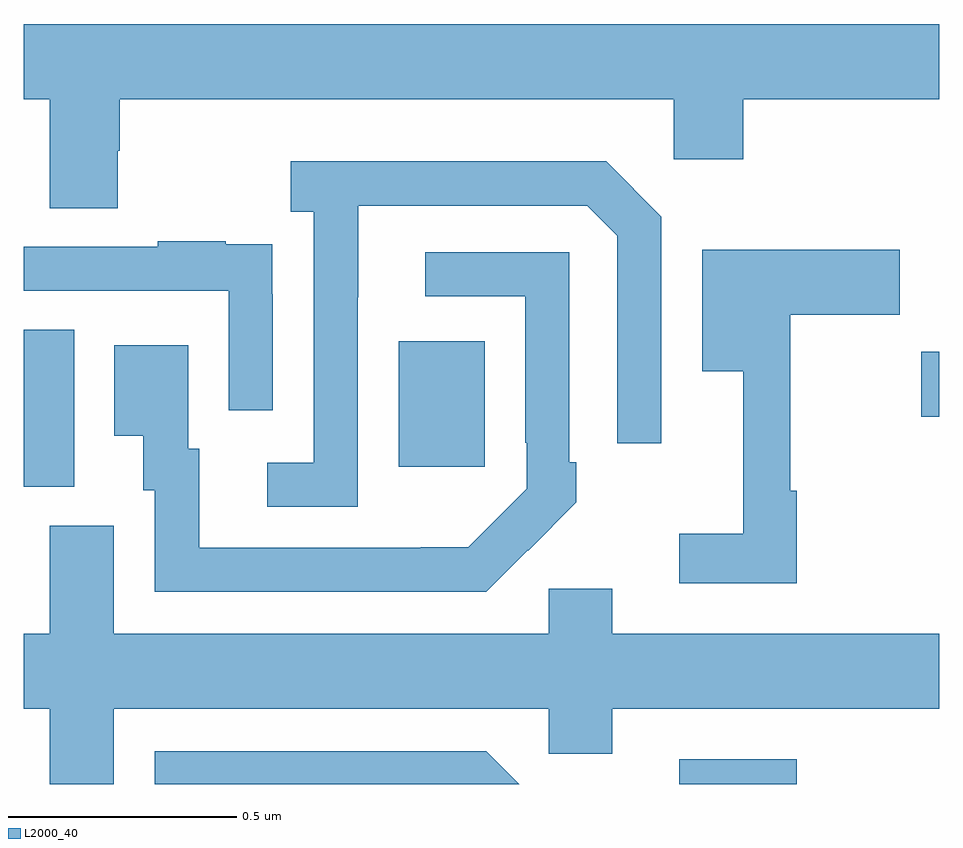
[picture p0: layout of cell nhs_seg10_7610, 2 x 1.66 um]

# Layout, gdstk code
import gdstk
lib = gdstk.Library(unit=1e-6, precision=1e-09)
def R(c, l, rs):  # rectangles x0, y0, x1, y1
    for r in rs: c.add(gdstk.rectangle(r[:2], r[2:], *l))
def P(c, l, *ps):  # polygons
    for p in ps: c.add(gdstk.Polygon(p, *l))
L2000_40 = (2000, 40)

nhs_seg10_7610 = lib.new_cell('nhs_seg10_7610')
R(nhs_seg10_7610, L2000_40, [(207.432,1285.5,207.689,1285.554), (206,1286.149,206.11,1286.492), (206.819,1286.193,207.007,1286.467), (207.96,1286.302,208,1286.444)])
P(nhs_seg10_7610, L2000_40, [(206.205,1286.883),(206.21,1286.883),(206.21,1286.996),(207.42,1286.996),(207.42,1286.865),(207.572,1286.865),(207.572,1286.996),(208,1286.996),(208,1287.16),(206,1287.16),(206,1286.996),(206.057,1286.996),(206.057,1286.758),(206.205,1286.758)],
  [(206.73,1286.563),(206.731,1286.563),(206.731,1286.763),(207.231,1286.763),(207.297,1286.697),(207.297,1286.244),(207.393,1286.244),(207.393,1286.739),(207.272,1286.86),(206.583,1286.86),(206.583,1286.75),(206.634,1286.75),(206.634,1286.202),(206.532,1286.202),(206.532,1286.106),(206.73,1286.106)],
  [(206.544,1286.57),(206.543,1286.57),(206.543,1286.679),(206.441,1286.679),(206.441,1286.686),(206.293,1286.686),(206.293,1286.673),(206,1286.673),(206,1286.577),(206.448,1286.577),(206.448,1286.316),(206.544,1286.316)],
  [(207.689,1286.141),(207.674,1286.141),(207.674,1286.525),(207.913,1286.525),(207.913,1286.667),(207.482,1286.667),(207.482,1286.402),(207.572,1286.402),(207.572,1286.047),(207.432,1286.047),(207.432,1285.938),(207.689,1285.938)],
  [(207.101,1286.011),(207.102,1286.01),(207.207,1286.115),(207.207,1286.203),(207.192,1286.203),(207.192,1286.661),(206.877,1286.661),(206.877,1286.565),(207.096,1286.565),(207.096,1286.245),(207.099,1286.245),(207.099,1286.145),(206.971,1286.017),(206.867,1286.017),(206.867,1286.016),(206.383,1286.016),(206.383,1286.232),(206.359,1286.232),(206.359,1286.458),(206.198,1286.458),(206.198,1286.261),(206.261,1286.261),(206.261,1286.142),(206.286,1286.142),(206.286,1285.92),(207.01,1285.92)],
  [(206.197,1285.664),(207.147,1285.664),(207.147,1285.566),(207.286,1285.566),(207.286,1285.664),(208,1285.664),(208,1285.828),(207.286,1285.828),(207.286,1285.926),(207.147,1285.926),(207.147,1285.828),(206.197,1285.828),(206.197,1286.064),(206.057,1286.064),(206.057,1285.828),(206,1285.828),(206,1285.664),(206.057,1285.664),(206.057,1285.5),(206.197,1285.5)],
  [(207.01,1285.572),(206.286,1285.572),(206.286,1285.5),(207.082,1285.5)])

lib.write_gds('nhs_seg10_7610.gds')
